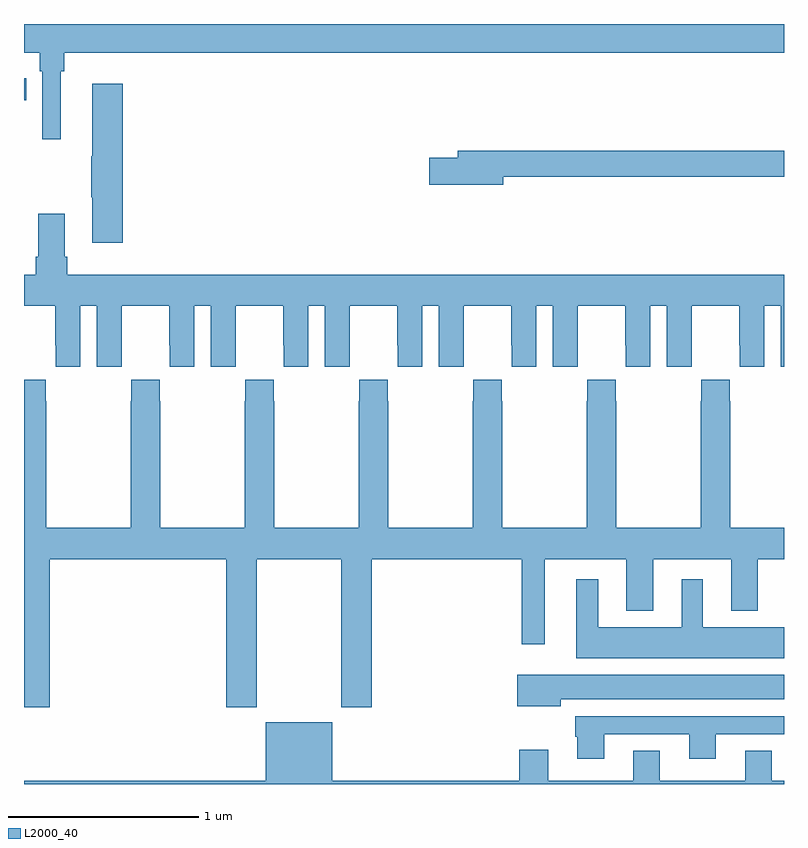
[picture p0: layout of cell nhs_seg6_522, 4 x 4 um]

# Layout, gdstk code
import gdstk
lib = gdstk.Library(unit=1e-6, precision=1e-09)
def R(c, l, rs):  # rectangles x0, y0, x1, y1
    for r in rs: c.add(gdstk.rectangle(r[:2], r[2:], *l))
def P(c, l, *ps):  # polygons
    for p in ps: c.add(gdstk.Polygon(p, *l))
L2000_40 = (2000, 40)

nhs_seg6_522 = lib.new_cell('nhs_seg6_522')
R(nhs_seg6_522, L2000_40, [(143,935.098,143.012,935.214)])
P(nhs_seg6_522, L2000_40, [(143.194,935.252),(143.213,935.252),(143.213,935.348),(147,935.348),(147,935.5),(143,935.5),(143,935.348),(143.084,935.348),(143.084,935.252),(143.097,935.252),(143.097,934.893),(143.194,934.893)],
  [(143.519,935.185),(143.36,935.185),(143.36,934.805),(143.353,934.805),(143.353,934.588),(143.36,934.588),(143.36,934.35),(143.519,934.35)],
  [(145.522,934.696),(147,934.696),(147,934.832),(145.283,934.832),(145.283,934.796),(145.134,934.796),(145.134,934.654),(145.522,934.654)],
  [(143.296,934.016),(143.384,934.016),(143.384,933.696),(143.514,933.696),(143.514,933.808),(143.515,933.808),(143.515,934.016),(143.765,934.016),(143.765,933.808),(143.766,933.808),(143.766,933.696),(143.896,933.696),(143.896,934.016),(143.984,934.016),(143.984,933.696),(144.114,933.696),(144.114,933.808),(144.115,933.808),(144.115,934.016),(144.365,934.016),(144.365,933.808),(144.366,933.808),(144.366,933.696),(144.496,933.696),(144.496,934.016),(144.584,934.016),(144.584,933.696),(144.714,933.696),(144.714,933.808),(144.715,933.808),(144.715,934.016),(144.965,934.016),(144.965,933.808),(144.966,933.808),(144.966,933.696),(145.096,933.696),(145.096,934.016),(145.184,934.016),(145.184,933.696),(145.314,933.696),(145.314,933.808),(145.315,933.808),(145.315,934.016),(145.565,934.016),(145.565,933.808),(145.566,933.808),(145.566,933.696),(145.696,933.696),(145.696,934.016),(145.784,934.016),(145.784,933.696),(145.914,933.696),(145.914,933.808),(145.915,933.808),(145.915,934.016),(146.165,934.016),(146.165,933.808),(146.166,933.808),(146.166,933.696),(146.296,933.696),(146.296,934.016),(146.384,934.016),(146.384,933.696),(146.514,933.696),(146.514,933.808),(146.515,933.808),(146.515,934.016),(146.765,934.016),(146.765,933.808),(146.766,933.808),(146.766,933.696),(146.896,933.696),(146.896,934.016),(146.984,934.016),(146.984,933.696),(147,933.696),(147,934.18),(143.228,934.18),(143.228,934.276),(143.215,934.276),(143.215,934.501),(143.075,934.501),(143.075,934.276),(143.063,934.276),(143.063,934.18),(143,934.18),(143,934.016),(143.165,934.016),(143.165,933.808),(143.166,933.808),(143.166,933.696),(143.296,933.696)],
  [(143.718,933.515),(143.715,933.515),(143.715,933.628),(143.565,933.628),(143.565,933.515),(143.563,933.515),(143.563,932.848),(143.118,932.848),(143.118,933.515),(143.115,933.515),(143.115,933.628),(143,933.628),(143,931.905),(143.135,931.905),(143.135,932.684),(144.065,932.684),(144.065,931.905),(144.225,931.905),(144.225,932.684),(144.67,932.684),(144.67,931.905),(144.83,931.905),(144.83,932.684),(145.62,932.684),(145.62,932.235),(145.741,932.235),(145.741,932.684),(146.171,932.684),(146.171,932.411),(146.311,932.411),(146.311,932.684),(146.723,932.684),(146.723,932.411),(146.863,932.411),(146.863,932.684),(147,932.684),(147,932.848),(146.718,932.848),(146.718,933.515),(146.715,933.515),(146.715,933.628),(146.565,933.628),(146.565,933.515),(146.563,933.515),(146.563,932.848),(146.118,932.848),(146.118,933.515),(146.115,933.515),(146.115,933.628),(145.965,933.628),(145.965,933.515),(145.963,933.515),(145.963,932.848),(145.518,932.848),(145.518,933.515),(145.515,933.515),(145.515,933.628),(145.365,933.628),(145.365,933.515),(145.363,933.515),(145.363,932.848),(144.918,932.848),(144.918,933.515),(144.915,933.515),(144.915,933.628),(144.765,933.628),(144.765,933.515),(144.763,933.515),(144.763,932.848),(144.318,932.848),(144.318,933.515),(144.315,933.515),(144.315,933.628),(144.165,933.628),(144.165,933.515),(144.163,933.515),(144.163,932.848),(143.718,932.848)],
  [(147,932.326),(146.572,932.326),(146.572,932.578),(146.462,932.578),(146.462,932.326),(146.023,932.326),(146.023,932.578),(145.907,932.578),(145.907,932.162),(147,932.162)],
  [(145.825,931.946),(147,931.946),(147,932.074),(145.596,932.074),(145.596,931.91),(145.825,931.91)],
  [(146.053,931.761),(146.501,931.761),(146.501,931.632),(146.641,931.632),(146.641,931.761),(147,931.761),(147,931.857),(145.901,931.857),(145.901,931.749),(145.913,931.749),(145.913,931.632),(146.053,931.632)],
  [(147,931.516),(146.935,931.516),(146.935,931.676),(146.795,931.676),(146.795,931.516),(146.347,931.516),(146.347,931.676),(146.207,931.676),(146.207,931.516),(145.759,931.516),(145.759,931.681),(145.607,931.681),(145.607,931.516),(144.622,931.516),(144.622,931.825),(144.272,931.825),(144.272,931.516),(143,931.516),(143,931.5),(147,931.5)])

lib.write_gds('nhs_seg6_522.gds')
